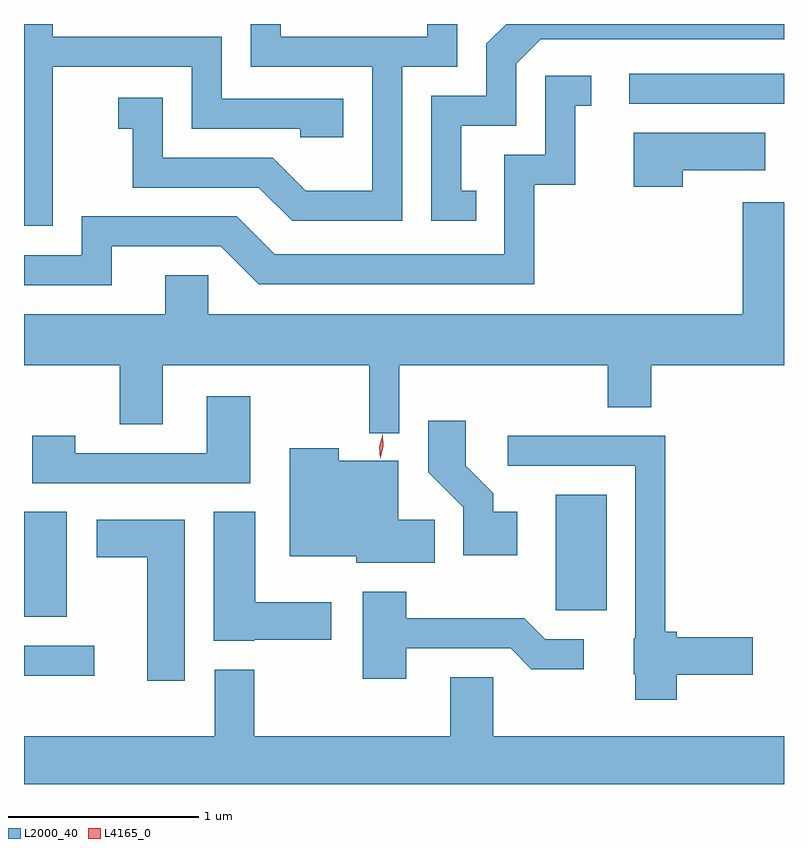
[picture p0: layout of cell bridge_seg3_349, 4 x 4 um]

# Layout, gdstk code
import gdstk
lib = gdstk.Library(unit=1e-6, precision=1e-09)
def R(c, l, rs):  # rectangles x0, y0, x1, y1
    for r in rs: c.add(gdstk.rectangle(r[:2], r[2:], *l))
def P(c, l, *ps):  # polygons
    for p in ps: c.add(gdstk.Polygon(p, *l))
L2000_40 = (2000, 40)
L4165_0 = (4165, 0)

bridge_seg3_349 = lib.new_cell('bridge_seg3_349')
R(bridge_seg3_349, L2000_40, [(637.188,1213.181,637.558,1213.339), (637.188,1213.491,637.414,1214.044), (639.986,1213.526,640.254,1214.134), (640.373,1216.191,641.188,1216.349)])
P(bridge_seg3_349, L2000_40, [(639.179,1216.386),(639.469,1216.386),(639.469,1216.612),(639.311,1216.612),(639.311,1216.544),(638.539,1216.544),(638.539,1216.612),(638.381,1216.612),(638.381,1216.386),(639.021,1216.386),(639.021,1215.734),(638.672,1215.734),(638.497,1215.909),(637.919,1215.909),(637.919,1216.224),(637.683,1216.224),(637.683,1216.061),(637.761,1216.061),(637.761,1215.751),(638.424,1215.751),(638.599,1215.576),(639.179,1215.576)],
  [(639.568,1215.734),(639.489,1215.734),(639.489,1216.076),(639.779,1216.076),(639.779,1216.404),(639.907,1216.531),(641.188,1216.531),(641.188,1216.612),(639.727,1216.612),(639.621,1216.507),(639.621,1216.234),(639.331,1216.234),(639.331,1215.576),(639.568,1215.576)],
  [(637.339,1216.386),(638.071,1216.386),(638.071,1216.061),(638.641,1216.061),(638.641,1216.016),(638.869,1216.016),(638.869,1216.219),(638.229,1216.219),(638.229,1216.544),(637.339,1216.544),(637.339,1216.612),(637.188,1216.612),(637.188,1215.551),(637.339,1215.551)],
  [(637.649,1215.441),(638.224,1215.441),(638.424,1215.241),(639.874,1215.241),(639.874,1215.766),(640.089,1215.766),(640.089,1216.181),(640.173,1216.181),(640.173,1216.339),(639.931,1216.339),(639.931,1215.924),(639.716,1215.924),(639.716,1215.399),(638.507,1215.399),(638.307,1215.599),(637.491,1215.599),(637.491,1215.394),(637.188,1215.394),(637.188,1215.236),(637.649,1215.236)],
  [(640.654,1215.841),(641.089,1215.841),(641.089,1216.039),(640.396,1216.039),(640.396,1215.756),(640.654,1215.756)],
  [(639.164,1214.816),(640.261,1214.816),(640.261,1214.596),(640.489,1214.596),(640.489,1214.816),(641.188,1214.816),(641.188,1215.674),(640.971,1215.674),(640.971,1215.084),(638.159,1215.084),(638.159,1215.289),(637.931,1215.289),(637.931,1215.084),(637.188,1215.084),(637.188,1214.816),(637.691,1214.816),(637.691,1214.506),(637.919,1214.506),(637.919,1214.816),(639.006,1214.816),(639.006,1214.458),(639.164,1214.458)],
  [(638.379,1214.654),(638.151,1214.654),(638.151,1214.354),(637.459,1214.354),(637.459,1214.444),(637.231,1214.444),(637.231,1214.196),(638.379,1214.196)],
  [(639.784,1214.044),(639.659,1214.044),(639.659,1214.142),(639.514,1214.287),(639.514,1214.524),(639.316,1214.524),(639.316,1214.254),(639.501,1214.069),(639.501,1213.816),(639.784,1213.816)],
  [(640.624,1213.186),(641.024,1213.186),(641.024,1213.384),(640.624,1213.384),(640.624,1213.414),(640.564,1213.414),(640.564,1214.444),(639.733,1214.444),(639.733,1214.286),(640.406,1214.286),(640.406,1213.38),(640.396,1213.38),(640.396,1213.19),(640.406,1213.19),(640.406,1213.056),(640.624,1213.056)],
  [(639.349,1214.004),(639.159,1214.004),(639.159,1214.314),(638.844,1214.314),(638.844,1214.379),(638.586,1214.379),(638.586,1213.811),(638.936,1213.811),(638.936,1213.776),(639.349,1213.776)],
  [(638.4,1213.371),(638.804,1213.371),(638.804,1213.569),(638.404,1213.569),(638.404,1214.044),(638.186,1214.044),(638.186,1213.366),(638.4,1213.366)],
  [(638.034,1214.004),(637.571,1214.004),(637.571,1213.806),(637.836,1213.806),(637.836,1213.156),(638.034,1213.156)],
  [(639.199,1213.326),(639.749,1213.326),(639.859,1213.216),(640.133,1213.216),(640.133,1213.374),(639.932,1213.374),(639.822,1213.484),(639.199,1213.484),(639.199,1213.624),(638.971,1213.624),(638.971,1213.166),(639.199,1213.166)],
  [(641.188,1212.864),(639.659,1212.864),(639.659,1213.174),(639.431,1213.174),(639.431,1212.864),(638.399,1212.864),(638.399,1213.214),(638.191,1213.214),(638.191,1212.864),(637.188,1212.864),(637.188,1212.612),(641.188,1212.612)])
P(bridge_seg3_349, L4165_0, [(639.063,1214.323),(639.063,1214.323),(639.059,1214.388),(639.075,1214.451),(639.076,1214.452),(639.076,1214.451),(639.08,1214.386),(639.064,1214.323)])

lib.write_gds('bridge_seg3_349.gds')
